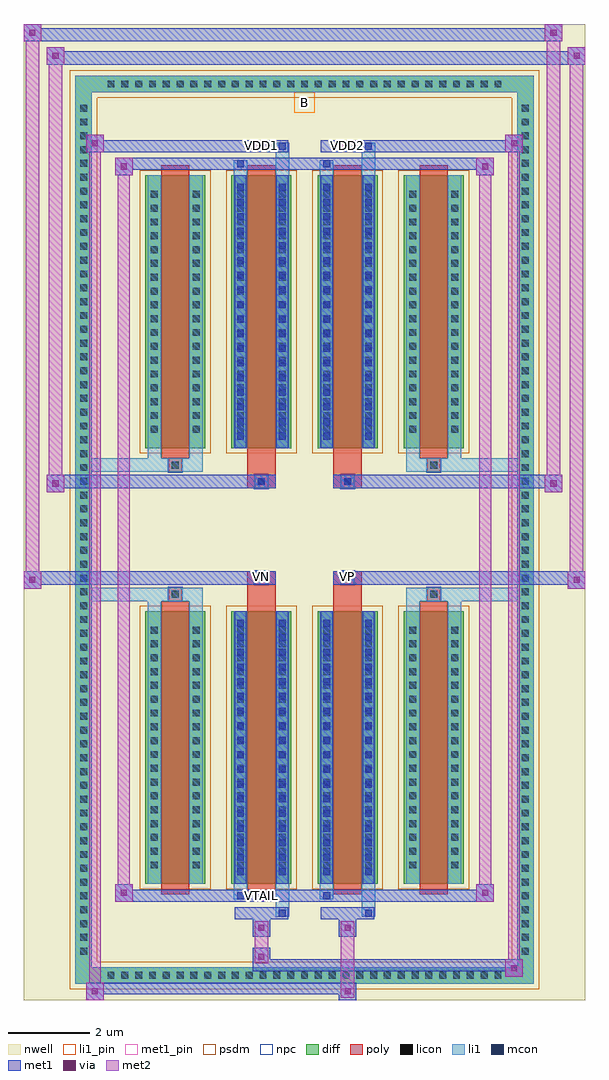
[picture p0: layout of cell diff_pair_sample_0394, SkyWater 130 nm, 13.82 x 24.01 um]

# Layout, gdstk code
import gdstk
lib = gdstk.Library(unit=1e-6, precision=5e-09)
def R(c, l, rs):  # rectangles x0, y0, x1, y1
    for r in rs: c.add(gdstk.rectangle(r[:2], r[2:], *l))
def A(c, l, x, y, w, h, nx, ny, dx, dy):  # array of equal rectangles
    R(c, l, [(x+i*dx, y+j*dy, x+i*dx+w, y+j*dy+h) for i in range(nx) for j in range(ny)])
def P(c, l, *ps):  # polygons
    for p in ps: c.add(gdstk.Polygon(p, *l))
nwell = (64, 20)
diff = (65, 20)
poly = (66, 20)
licon = (66, 44)
li1_pin = (67, 16)
li1 = (67, 20)
mcon = (67, 44)
met1_pin = (68, 16)
met1 = (68, 20)
via = (68, 44)
met2 = (69, 20)
psdm = (94, 20)
npc = (95, 20)

diff_pair_sample_0394 = lib.new_cell('diff_pair_sample_0394')
R(diff_pair_sample_0394, nwell, [(-6.91,-11.57,6.91,12.44), (-4.23,-9.76,-0.01,-0.82), (0.01,-9.76,4.23,-0.82), (-4.23,0.82,-0.01,9.76), (0.01,0.82,4.23,9.76)])
A(diff_pair_sample_0394, diff, -4.965, -11.17, 0.41, 0.41, 29, 2, 0.34, 21.93)
A(diff_pair_sample_0394, diff, -5.64, -10.575, 0.41, 0.41, 1, 62, 0, 0.34)
A(diff_pair_sample_0394, diff, 5.23, -10.575, 0.41, 0.41, 1, 62, 0, 0.34)
A(diff_pair_sample_0394, diff, -3.92, -8.715, 1.48, 6.71, 4, 2, 2.12, 10.72)
R(diff_pair_sample_0394, diff, [(-4.965,-11.17,4.965,-10.76), (-5.64,-10.575,-5.23,10.575), (5.23,-10.575,5.64,10.575), (-4.965,10.76,4.965,11.17)])
P(diff_pair_sample_0394, diff, [(5.64,11.17),(-5.64,11.17),(-5.64,-10.76),(-5.23,-10.76),(-5.23,10.76),(5.23,10.76),(5.23,-10.76),(-5.23,-10.76),(-5.64,-10.76),(-5.64,-11.17),(5.64,-11.17)])
A(diff_pair_sample_0394, poly, -3.53, -8.965, 0.7, 7.21, 4, 2, 2.12, 10.72)
R(diff_pair_sample_0394, poly, [(-3.345,-1.755,-3.015,-1.425), (-3.345,-1.755,-3.015,-1.425), (-1.41,-1.755,-0.71,-1.35), (0.71,-1.755,1.41,-1.35), (3.015,-1.755,3.345,-1.425), (3.015,-1.755,3.345,-1.425), (-1.41,-1.35,-0.71,-1.02), (-1.225,-1.35,-0.895,-1.02), (0.71,-1.35,1.41,-1.02), (0.895,-1.35,1.225,-1.02), (-1.41,1.02,-0.71,1.35), (-1.225,1.02,-0.895,1.35), (0.71,1.02,1.41,1.35), (0.895,1.02,1.225,1.35), (-1.41,1.35,-0.71,1.755), (0.71,1.35,1.41,1.755), (-3.345,1.425,-3.015,1.755), (-3.345,1.425,-3.015,1.755), (3.015,1.425,3.345,1.755), (3.015,1.425,3.345,1.755)])
A(diff_pair_sample_0394, licon, -4.845, -11.05, 0.17, 0.17, 29, 2, 0.34, 21.93)
A(diff_pair_sample_0394, licon, -5.52, -10.455, 0.17, 0.17, 1, 62, 0, 0.34)
A(diff_pair_sample_0394, licon, 5.35, -10.455, 0.17, 0.17, 1, 62, 0, 0.34)
A(diff_pair_sample_0394, licon, -3.78, -8.335, 0.17, 0.17, 1, 18, 0, 0.34)
A(diff_pair_sample_0394, licon, -2.75, -8.335, 0.17, 0.17, 1, 18, 0, 0.34)
A(diff_pair_sample_0394, licon, -1.66, -8.335, 0.17, 0.17, 1, 18, 0, 0.34)
A(diff_pair_sample_0394, licon, -0.63, -8.335, 0.17, 0.17, 1, 18, 0, 0.34)
A(diff_pair_sample_0394, licon, 0.46, -8.335, 0.17, 0.17, 1, 18, 0, 0.34)
A(diff_pair_sample_0394, licon, 1.49, -8.335, 0.17, 0.17, 1, 18, 0, 0.34)
A(diff_pair_sample_0394, licon, 2.58, -8.335, 0.17, 0.17, 1, 18, 0, 0.34)
A(diff_pair_sample_0394, licon, 3.61, -8.335, 0.17, 0.17, 1, 18, 0, 0.34)
A(diff_pair_sample_0394, licon, -3.78, 2.385, 0.17, 0.17, 1, 18, 0, 0.34)
A(diff_pair_sample_0394, licon, -2.75, 2.385, 0.17, 0.17, 1, 18, 0, 0.34)
A(diff_pair_sample_0394, licon, -1.66, 2.385, 0.17, 0.17, 1, 18, 0, 0.34)
A(diff_pair_sample_0394, licon, -0.63, 2.385, 0.17, 0.17, 1, 18, 0, 0.34)
A(diff_pair_sample_0394, licon, 0.46, 2.385, 0.17, 0.17, 1, 18, 0, 0.34)
A(diff_pair_sample_0394, licon, 1.49, 2.385, 0.17, 0.17, 1, 18, 0, 0.34)
A(diff_pair_sample_0394, licon, 2.58, 2.385, 0.17, 0.17, 1, 18, 0, 0.34)
A(diff_pair_sample_0394, licon, 3.61, 2.385, 0.17, 0.17, 1, 18, 0, 0.34)
R(diff_pair_sample_0394, licon, [(-3.265,-1.675,-3.095,-1.505), (3.095,-1.675,3.265,-1.505), (-1.145,-1.27,-0.975,-1.1), (0.975,-1.27,1.145,-1.1), (-1.145,1.1,-0.975,1.27), (0.975,1.1,1.145,1.27), (-3.265,1.505,-3.095,1.675), (3.095,1.505,3.265,1.675)])
R(diff_pair_sample_0394, li1_pin, [(-0.25,10.26,0.25,10.76)])
A(diff_pair_sample_0394, li1, -4.925, -11.13, 0.33, 0.33, 29, 2, 0.34, 21.93)
A(diff_pair_sample_0394, li1, -5.6, -10.535, 0.33, 0.33, 1, 62, 0, 0.34)
A(diff_pair_sample_0394, li1, 5.27, -10.535, 0.33, 0.33, 1, 62, 0, 0.34)
A(diff_pair_sample_0394, li1, -1.66, -8.505, 0.17, 0.17, 1, 18, 0, 0.36)
A(diff_pair_sample_0394, li1, -0.63, -8.505, 0.17, 0.17, 1, 18, 0, 0.36)
A(diff_pair_sample_0394, li1, 0.46, -8.505, 0.17, 0.17, 1, 18, 0, 0.36)
A(diff_pair_sample_0394, li1, 1.49, -8.505, 0.17, 0.17, 1, 18, 0, 0.36)
A(diff_pair_sample_0394, li1, -3.86, -8.415, 0.33, 0.33, 1, 18, 0, 0.34)
A(diff_pair_sample_0394, li1, -2.83, -8.415, 0.33, 0.33, 1, 18, 0, 0.34)
A(diff_pair_sample_0394, li1, -1.74, -8.415, 0.33, 0.33, 1, 18, 0, 0.34)
A(diff_pair_sample_0394, li1, -0.71, -8.415, 0.33, 0.33, 1, 18, 0, 0.34)
A(diff_pair_sample_0394, li1, 0.38, -8.415, 0.33, 0.33, 1, 18, 0, 0.34)
A(diff_pair_sample_0394, li1, 1.41, -8.415, 0.33, 0.33, 1, 18, 0, 0.34)
A(diff_pair_sample_0394, li1, 2.5, -8.415, 0.33, 0.33, 1, 18, 0, 0.34)
A(diff_pair_sample_0394, li1, 3.53, -8.415, 0.33, 0.33, 1, 18, 0, 0.34)
A(diff_pair_sample_0394, li1, -1.66, 2.215, 0.17, 0.17, 1, 18, 0, 0.36)
A(diff_pair_sample_0394, li1, -0.63, 2.215, 0.17, 0.17, 1, 18, 0, 0.36)
A(diff_pair_sample_0394, li1, 0.46, 2.215, 0.17, 0.17, 1, 18, 0, 0.36)
A(diff_pair_sample_0394, li1, 1.49, 2.215, 0.17, 0.17, 1, 18, 0, 0.36)
A(diff_pair_sample_0394, li1, -3.86, 2.305, 0.33, 0.33, 1, 18, 0, 0.34)
A(diff_pair_sample_0394, li1, -2.83, 2.305, 0.33, 0.33, 1, 18, 0, 0.34)
A(diff_pair_sample_0394, li1, -1.74, 2.305, 0.33, 0.33, 1, 18, 0, 0.34)
A(diff_pair_sample_0394, li1, -0.71, 2.305, 0.33, 0.33, 1, 18, 0, 0.34)
A(diff_pair_sample_0394, li1, 0.38, 2.305, 0.33, 0.33, 1, 18, 0, 0.34)
A(diff_pair_sample_0394, li1, 1.41, 2.305, 0.33, 0.33, 1, 18, 0, 0.34)
A(diff_pair_sample_0394, li1, 2.5, 2.305, 0.33, 0.33, 1, 18, 0, 0.34)
A(diff_pair_sample_0394, li1, 3.53, 2.305, 0.33, 0.33, 1, 18, 0, 0.34)
R(diff_pair_sample_0394, li1, [(-5.64,-11.17,-5.23,-10.76), (-5.64,-11.17,-5.23,-10.76), (-5.23,-11.17,5.23,-10.76), (5.23,-11.17,5.64,-10.76), (5.23,-11.17,5.64,-10.76), (-5.64,-10.76,-5.23,10.76), (5.23,-10.76,5.64,10.76), (-0.71,-9.52,-0.38,-8.715), (-0.63,-9.52,-0.46,-9.35), (1.41,-9.52,1.74,-8.715), (1.49,-9.52,1.66,-9.35), (-1.74,-9.09,-1.41,-8.715), (-1.66,-9.09,-1.49,-8.92), (0.38,-9.09,0.71,-8.715), (0.46,-9.09,0.63,-8.92), (-3.86,-8.715,-3.53,-2.005), (-2.83,-8.715,-2.5,-2.005), (-1.74,-8.715,-1.41,-2.005), (-0.71,-8.715,-0.38,-2.005), (0.38,-8.715,0.71,-2.005), (1.41,-8.715,1.74,-2.005), (2.5,-8.715,2.83,-2.005), (3.53,-8.715,3.86,-2.005), (-1.66,-8.505,-1.49,-2.215), (-0.63,-8.505,-0.46,-2.215), (0.46,-8.505,0.63,-2.215), (1.49,-8.505,1.66,-2.215), (-3.86,-2.005,-3.53,-1.425), (-2.83,-2.005,-2.5,-1.425), (2.5,-2.005,2.83,-1.425), (3.53,-2.005,3.86,-1.425), (-5.64,-1.755,-3.345,-1.425), (-3.86,-1.755,-3.345,-1.425), (-3.345,-1.755,-3.015,-1.425), (-3.015,-1.755,-2.5,-1.425), (2.5,-1.755,3.015,-1.425), (3.015,-1.755,3.345,-1.425), (3.015,-1.755,5.64,-1.425), (3.345,-1.755,3.86,-1.425), (-1.225,-1.35,-0.895,-1.02), (0.895,-1.35,1.225,-1.02), (-1.225,1.02,-0.895,1.35), (0.895,1.02,1.225,1.35), (-5.64,1.425,-3.345,1.755), (-3.86,1.425,-3.345,1.755), (-3.86,1.425,-3.53,2.005), (-3.345,1.425,-3.015,1.755), (-3.015,1.425,-2.5,1.755), (-2.83,1.425,-2.5,2.005), (2.5,1.425,3.015,1.755), (2.5,1.425,2.83,2.005), (3.015,1.425,3.345,1.755), (3.015,1.425,5.64,1.755), (3.345,1.425,3.86,1.755), (3.53,1.425,3.86,2.005), (-3.86,2.005,-3.53,8.715), (-2.83,2.005,-2.5,8.715), (-1.74,2.005,-1.41,8.715), (-0.71,2.005,-0.38,8.715), (0.38,2.005,0.71,8.715), (1.41,2.005,1.74,8.715), (2.5,2.005,2.83,8.715), (3.53,2.005,3.86,8.715), (-1.66,2.215,-1.49,8.505), (-0.63,2.215,-0.46,8.505), (0.46,2.215,0.63,8.505), (1.49,2.215,1.66,8.505), (-1.74,8.715,-1.41,9.09), (-0.71,8.715,-0.38,9.52), (0.38,8.715,0.71,9.09), (1.41,8.715,1.74,9.52), (-1.66,8.92,-1.49,9.09), (0.46,8.92,0.63,9.09), (-0.63,9.35,-0.46,9.52), (1.49,9.35,1.66,9.52), (-5.64,10.76,-5.23,11.17), (-5.64,10.76,-5.23,11.17), (-5.23,10.76,5.23,11.17), (5.23,10.76,5.64,11.17), (5.23,10.76,5.64,11.17)])
A(diff_pair_sample_0394, mcon, -1.66, -8.505, 0.17, 0.17, 1, 18, 0, 0.36)
A(diff_pair_sample_0394, mcon, -0.63, -8.505, 0.17, 0.17, 1, 18, 0, 0.36)
A(diff_pair_sample_0394, mcon, 0.46, -8.505, 0.17, 0.17, 1, 18, 0, 0.36)
A(diff_pair_sample_0394, mcon, 1.49, -8.505, 0.17, 0.17, 1, 18, 0, 0.36)
A(diff_pair_sample_0394, mcon, -1.66, 2.215, 0.17, 0.17, 1, 18, 0, 0.36)
A(diff_pair_sample_0394, mcon, -0.63, 2.215, 0.17, 0.17, 1, 18, 0, 0.36)
A(diff_pair_sample_0394, mcon, 0.46, 2.215, 0.17, 0.17, 1, 18, 0, 0.36)
A(diff_pair_sample_0394, mcon, 1.49, 2.215, 0.17, 0.17, 1, 18, 0, 0.36)
R(diff_pair_sample_0394, mcon, [(-0.63,-9.52,-0.46,-9.35), (1.49,-9.52,1.66,-9.35), (-1.66,-9.09,-1.49,-8.92), (0.46,-9.09,0.63,-8.92), (-1.145,-1.27,-0.975,-1.1), (0.975,-1.27,1.145,-1.1), (-1.145,1.1,-0.975,1.27), (0.975,1.1,1.145,1.27), (-1.66,8.92,-1.49,9.09), (0.46,8.92,0.63,9.09), (-0.63,9.35,-0.46,9.52), (1.49,9.35,1.66,9.52)])
R(diff_pair_sample_0394, met1_pin, [(-1.195,-9.13,-0.925,-8.86), (-1.195,-1.29,-0.925,-1.02), (0.925,-1.29,1.195,-1.02), (-1.195,9.31,-0.925,9.58), (0.925,9.31,1.195,9.58)])
A(diff_pair_sample_0394, met1, -1.72, -8.565, 0.29, 0.29, 1, 18, 0, 0.36)
A(diff_pair_sample_0394, met1, -0.69, -8.565, 0.29, 0.29, 1, 18, 0, 0.36)
A(diff_pair_sample_0394, met1, 0.4, -8.565, 0.29, 0.29, 1, 18, 0, 0.36)
A(diff_pair_sample_0394, met1, 1.43, -8.565, 0.29, 0.29, 1, 18, 0, 0.36)
A(diff_pair_sample_0394, met1, -1.72, 2.155, 0.29, 0.29, 1, 18, 0, 0.36)
A(diff_pair_sample_0394, met1, -0.69, 2.155, 0.29, 0.29, 1, 18, 0, 0.36)
A(diff_pair_sample_0394, met1, 0.4, 2.155, 0.29, 0.29, 1, 18, 0, 0.36)
A(diff_pair_sample_0394, met1, 1.43, 2.155, 0.29, 0.29, 1, 18, 0, 0.36)
R(diff_pair_sample_0394, met1, [(-5.37,-11.57,-4.94,-11.14), (0.845,-11.57,1.275,-11.14), (-5.37,-11.43,1.275,-11.14), (4.94,-11,5.37,-10.57), (-1.275,-10.86,5.37,-10.57), (-1.275,-10.72,-0.845,-10.29), (-1.275,-10.01,-0.845,-9.58), (0.845,-10.01,1.275,-9.58), (-1.72,-9.58,-0.4,-9.29), (-0.69,-9.58,-0.4,-9.29), (0.4,-9.58,1.72,-9.29), (1.43,-9.58,1.72,-9.29), (-4.66,-9.15,-4.23,-8.72), (-4.66,-9.15,-1.72,-8.86), (-1.72,-9.15,-1.43,-8.86), (-1.72,-9.15,-0.4,-8.86), (-0.4,-9.15,0.4,-8.86), (0.4,-9.15,0.69,-8.86), (0.4,-9.15,1.72,-8.86), (1.72,-9.15,4.66,-8.86), (4.23,-9.15,4.66,-8.72), (-1.72,-8.715,-1.43,-2.005), (-0.69,-8.715,-0.4,-2.005), (0.4,-8.715,0.69,-2.005), (1.43,-8.715,1.72,-2.005), (-6.91,-1.45,-6.48,-1.02), (6.48,-1.45,6.91,-1.02), (-6.91,-1.35,-0.71,-1.02), (-1.41,-1.35,-0.71,-1.02), (0.71,-1.35,1.41,-1.02), (0.71,-1.35,6.91,-1.02), (-1.205,-1.33,-0.915,-1.04), (0.915,-1.33,1.205,-1.04), (-6.34,0.92,-5.91,1.35), (5.91,0.92,6.34,1.35), (-6.34,1.02,-1.41,1.35), (-1.41,1.02,-0.71,1.35), (0.71,1.02,1.41,1.35), (1.41,1.02,6.34,1.35), (-1.205,1.04,-0.915,1.33), (0.915,1.04,1.205,1.33), (-1.72,2.005,-1.43,8.715), (-0.69,2.005,-0.4,8.715), (0.4,2.005,0.69,8.715), (1.43,2.005,1.72,8.715), (-4.66,8.72,-4.23,9.15), (4.23,8.72,4.66,9.15), (-4.66,8.86,-1.72,9.15), (-1.72,8.86,-1.43,9.15), (-1.72,8.86,-0.4,9.15), (-0.4,8.86,0.4,9.15), (0.4,8.86,0.69,9.15), (0.4,8.86,1.72,9.15), (1.72,8.86,4.66,9.15), (-5.37,9.29,-4.94,9.72), (-5.37,9.29,-1.72,9.58), (-1.72,9.29,-0.4,9.58), (-0.69,9.29,-0.4,9.58), (0.4,9.29,1.72,9.58), (1.43,9.29,1.72,9.58), (1.72,9.29,5.37,9.58), (4.94,9.29,5.37,9.72), (-6.34,11.44,-5.91,11.87), (-6.34,11.44,-4.23,11.77), (-4.23,11.44,4.23,11.77), (4.23,11.44,6.91,11.77), (6.48,11.44,6.91,11.87), (-6.91,12.01,-6.48,12.44), (-6.91,12.01,-4.23,12.34), (-4.23,12.01,4.23,12.34), (4.23,12.01,6.34,12.34), (5.91,12.01,6.34,12.44)])
R(diff_pair_sample_0394, via, [(-5.23,-11.43,-5.08,-11.28), (0.985,-11.43,1.135,-11.28), (5.08,-10.86,5.23,-10.71), (-1.135,-10.58,-0.985,-10.43), (-1.135,-9.87,-0.985,-9.72), (0.985,-9.87,1.135,-9.72), (-4.52,-9.01,-4.37,-8.86), (4.37,-9.01,4.52,-8.86), (-6.77,-1.31,-6.62,-1.16), (6.62,-1.31,6.77,-1.16), (-6.2,1.06,-6.05,1.21), (6.05,1.06,6.2,1.21), (-4.52,8.86,-4.37,9.01), (4.37,8.86,4.52,9.01), (-5.23,9.43,-5.08,9.58), (5.08,9.43,5.23,9.58), (-6.2,11.58,-6.05,11.73), (6.62,11.58,6.77,11.73), (-6.77,12.15,-6.62,12.3), (6.05,12.15,6.2,12.3)])
R(diff_pair_sample_0394, met2, [(-5.37,-11.57,-4.94,-11.14), (-5.3,-11.57,-5.01,9.72), (-5.01,-11.57,-4.94,-11.14), (-5.32,-11.52,-4.99,-11.19), (0.895,-11.52,1.225,-11.19), (0.895,-11.19,1.225,-9.96), (4.94,-11,5.37,-10.57), (5.01,-11,5.3,9.72), (5.3,-11,5.37,-10.57), (4.99,-10.95,5.32,-10.62), (-1.225,-10.67,-0.895,-10.34), (-1.225,-10.34,-0.895,-9.96), (-1.225,-9.96,-0.895,-9.63), (0.895,-9.96,1.225,-9.63), (-4.66,-9.15,-4.23,-8.72), (-4.59,-9.15,-4.3,9.15), (-4.3,-9.15,-4.23,-8.72), (4.23,-9.15,4.66,-8.72), (4.3,-9.15,4.59,9.15), (4.59,-9.15,4.66,-8.72), (-4.61,-9.1,-4.28,-8.77), (4.28,-9.1,4.61,-8.77), (-6.91,-1.45,-6.48,-1.02), (-6.86,-1.45,-6.53,12.44), (-6.53,-1.45,-6.48,-1.02), (6.48,-1.45,6.91,-1.02), (6.53,-1.45,6.86,11.87), (6.86,-1.45,6.91,-1.02), (-6.86,-1.4,-6.53,-1.07), (6.53,-1.4,6.86,-1.07), (-6.34,0.92,-5.91,1.35), (-6.29,0.92,-5.96,11.87), (-5.96,0.92,-5.91,1.35), (5.91,0.92,6.34,1.35), (5.96,0.92,6.29,12.44), (6.29,0.92,6.34,1.35), (-6.29,0.97,-5.96,1.3), (5.96,0.97,6.29,1.3), (-4.66,8.72,-4.23,9.15), (-4.3,8.72,-4.23,9.15), (4.23,8.72,4.66,9.15), (4.59,8.72,4.66,9.15), (-4.61,8.77,-4.28,9.1), (4.28,8.77,4.61,9.1), (-5.37,9.29,-4.94,9.72), (-5.01,9.29,-4.94,9.72), (4.94,9.29,5.37,9.72), (5.3,9.29,5.37,9.72), (-5.32,9.34,-4.99,9.67), (4.99,9.34,5.32,9.67), (-6.34,11.44,-5.91,11.87), (-5.96,11.44,-5.91,11.87), (6.48,11.44,6.91,11.87), (6.86,11.44,6.91,11.87), (-6.29,11.49,-5.96,11.82), (6.53,11.49,6.86,11.82), (-6.91,12.01,-6.48,12.44), (-6.53,12.01,-6.48,12.44), (5.91,12.01,6.34,12.44), (6.29,12.01,6.34,12.44), (-6.86,12.06,-6.53,12.39), (5.96,12.06,6.29,12.39)])
A(diff_pair_sample_0394, psdm, -4.05, -8.845, 1.74, 6.97, 4, 2, 2.12, 10.72)
P(diff_pair_sample_0394, psdm, [(5.77,11.3),(-5.77,11.3),(-5.77,-10.63),(-5.1,-10.63),(-5.1,10.63),(5.1,10.63),(5.1,-10.63),(-5.1,-10.63),(-5.77,-10.63),(-5.77,-11.3),(5.77,-11.3)])
R(diff_pair_sample_0394, npc, [(-3.365,-1.775,-2.995,-1.405), (2.995,-1.775,3.365,-1.405), (-1.245,-1.37,-0.875,-1), (0.875,-1.37,1.245,-1), (-1.245,1,-0.875,1.37), (0.875,1,1.245,1.37), (-3.365,1.405,-2.995,1.775), (2.995,1.405,3.365,1.775)])
diff_pair_sample_0394.add(gdstk.Label('VTAIL', (-1.06,-8.995), layer=68, texttype=5))
diff_pair_sample_0394.add(gdstk.Label('VN', (-1.06,-1.155), layer=68, texttype=5))
diff_pair_sample_0394.add(gdstk.Label('VP', (1.06,-1.155), layer=68, texttype=5))
diff_pair_sample_0394.add(gdstk.Label('B', (0,10.51), layer=67, texttype=5))
diff_pair_sample_0394.add(gdstk.Label('VDD2', (1.06,9.445), layer=68, texttype=5))
diff_pair_sample_0394.add(gdstk.Label('VDD1', (-1.06,9.445), layer=68, texttype=5))

lib.write_gds('diff_pair_sample_0394.gds')
